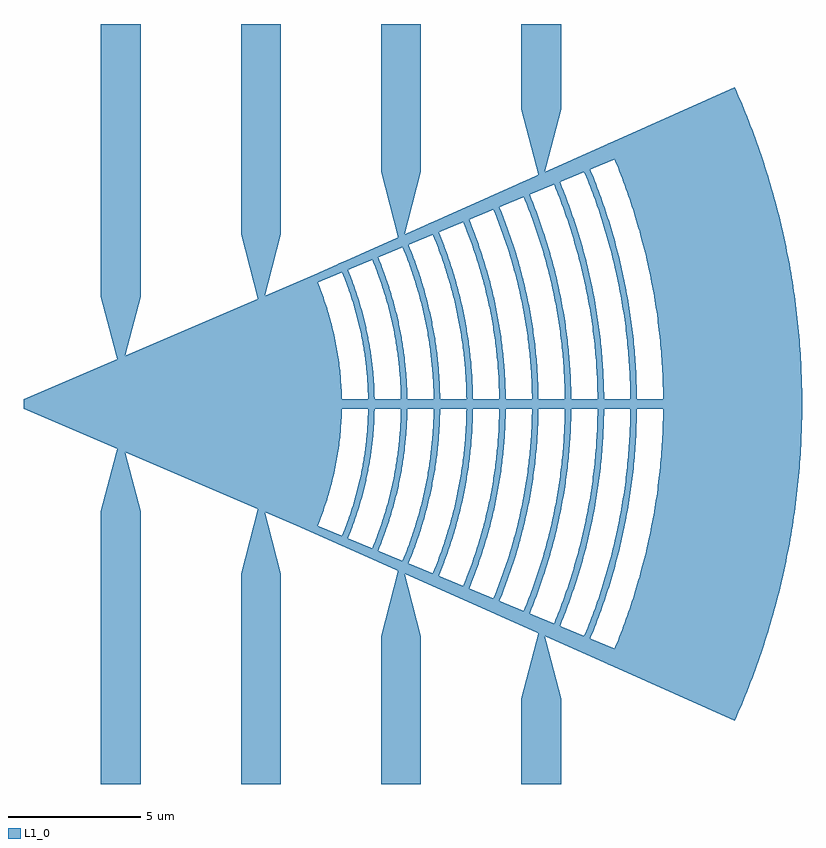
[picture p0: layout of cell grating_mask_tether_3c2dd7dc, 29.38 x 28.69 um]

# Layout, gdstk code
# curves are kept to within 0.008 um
import gdstk
lib = gdstk.Library(unit=1e-6, precision=2e-09)
def R(c, l, rs):  # rectangles x0, y0, x1, y1
    for r in rs: c.add(gdstk.rectangle(r[:2], r[2:], *l))
def P(c, l, *ps):  # polygons
    for p in ps: c.add(gdstk.Polygon(p, *l))
L1_0 = (1, 0)

compass_size13p376__0p3_ = lib.new_cell('compass_size13p376__0p3_04e9e930')
R(compass_size13p376__0p3_, L1_0, [(0,0,13.376,0.35)])

rectangle_size13p376__0p = lib.new_cell('rectangle_size13p376__0p35')
rectangle_size13p376__0p.add(gdstk.Reference(compass_size13p376__0p3_, (0,0)))

ring_7f672872_transform_ = lib.new_cell('ring_7f672872_transform_430da6bd')
P(ring_7f672872_transform_, L1_0, [(11.872,-5.286),(12.106,-4.728),(12.36,-4.016),(12.512,-3.51),(12.68,-2.85),(12.824,-2.108),(12.908,-1.508),(12.964,-0.906),(12.994,-0.226),(12.988,0.454),(12.94,1.208),(12.848,1.958),(12.728,2.628),(12.572,3.29),(12.36,4.016),(12.106,4.728),(11.872,5.286),(12.094,5.384),(12.386,4.672),(12.614,4.018),(12.826,3.278),(12.98,2.602),(13.12,1.766),(13.188,1.154),(13.23,0.462),(13.236,-0.232),(13.206,-0.924),(13.12,-1.766),(12.98,-2.602),(12.826,-3.278),(12.66,-3.87),(12.492,-4.382),(12.302,-4.888),(12.094,-5.384)])

ring_532d3cfd_transform_ = lib.new_cell('ring_532d3cfd_transform_c33dccc3')
P(ring_532d3cfd_transform_, L1_0, [(13.002,-5.79),(13.258,-5.178),(13.484,-4.556),(13.682,-3.924),(13.886,-3.122),(14.032,-2.39),(14.128,-1.734),(14.192,-1.076),(14.23,-0.332),(14.228,0.414),(14.192,1.076),(14.128,1.734),(14.032,2.39),(13.85,3.282),(13.612,4.162),(13.318,5.024),(13.002,5.79),(13.224,5.888),(13.574,5.03),(13.818,4.312),(14.046,3.502),(14.21,2.762),(14.346,1.932),(14.428,1.178),(14.47,0.422),(14.472,-0.336),(14.428,-1.178),(14.346,-1.932),(14.21,-2.762),(14.004,-3.666),(13.868,-4.152),(13.63,-4.872),(13.422,-5.422),(13.224,-5.888)])

ring_ba15de7a_transform_ = lib.new_cell('ring_ba15de7a_transform_50668a50')
P(ring_ba15de7a_transform_, L1_0, [(14.134,-6.292),(14.444,-5.544),(14.742,-4.696),(14.944,-4.004),(15.114,-3.304),(15.252,-2.598),(15.356,-1.886),(15.434,-1.08),(15.47,-0.18),(15.462,0.54),(15.434,1.08),(15.356,1.886),(15.252,2.598),(15.152,3.128),(15.012,3.742),(14.742,4.696),(14.476,5.46),(14.134,6.292),(14.354,6.39),(14.67,5.63),(14.944,4.856),(15.154,4.156),(15.37,3.266),(15.534,2.368),(15.636,1.552),(15.696,0.732),(15.712,-0.182),(15.696,-0.732),(15.668,-1.188),(15.584,-2.006),(15.442,-2.908),(15.224,-3.89),(15.104,-4.332),(14.886,-5.03),(14.67,-5.63),(14.392,-6.308),(14.354,-6.39)])

ring_b315ff9d_transform_ = lib.new_cell('ring_b315ff9d_transform_ac5788b5')
P(ring_b315ff9d_transform_, L1_0, [(15.264,-6.796),(15.634,-5.896),(15.89,-5.164),(16.114,-4.418),(16.344,-3.474),(16.488,-2.71),(16.596,-1.94),(16.668,-1.166),(16.708,-0.194),(16.702,0.486),(16.668,1.166),(16.596,1.94),(16.472,2.806),(16.364,3.378),(16.236,3.948),(15.978,4.886),(15.668,5.806),(15.456,6.35),(15.264,6.796),(15.484,6.894),(15.642,6.532),(15.86,5.982),(16.21,4.956),(16.398,4.292),(16.62,3.332),(16.772,2.456),(16.878,1.576),(16.928,0.888),(16.95,0.198),(16.95,-0.198),(16.91,-1.182),(16.858,-1.772),(16.786,-2.36),(16.62,-3.332),(16.398,-4.292),(16.21,-4.956),(15.962,-5.704),(15.716,-6.35),(15.484,-6.894)])

ring_c534d798_transform_ = lib.new_cell('ring_c534d798_transform_ee35ee72')
P(ring_c534d798_transform_, L1_0, [(16.394,-7.3),(16.792,-6.334),(17.036,-5.644),(17.308,-4.746),(17.51,-3.936),(17.692,-3.014),(17.8,-2.29),(17.848,-1.876),(17.91,-1.148),(17.944,-0.314),(17.942,0.418),(17.91,1.148),(17.812,2.188),(17.692,3.014),(17.576,3.628),(17.438,4.24),(17.308,4.746),(17.162,5.246),(17.002,5.744),(16.792,6.334),(16.394,7.3),(16.616,7.398),(17.018,6.42),(17.33,5.52),(17.596,4.606),(17.834,3.574),(17.996,2.636),(18.11,1.69),(18.158,1.058),(18.184,0.424),(18.186,-0.318),(18.164,-0.952),(18.128,-1.48),(18.026,-2.426),(17.948,-2.95),(17.834,-3.574),(17.596,-4.606),(17.394,-5.318),(17.128,-6.122),(16.864,-6.814),(16.616,-7.398)])

ring_26b249d0_transform_ = lib.new_cell('ring_26b249d0_transform_3fdecdbd')
P(ring_26b249d0_transform_, L1_0, [(17.526,-7.802),(17.87,-6.978),(18.21,-6.034),(18.378,-5.502),(18.53,-4.966),(18.788,-3.88),(18.948,-3),(19.09,-1.894),(19.158,-1.004),(19.184,-0.112),(19.168,0.782),(19.12,1.56),(19.054,2.228),(18.912,3.222),(18.788,3.88),(18.692,4.316),(18.53,4.966),(18.346,5.608),(18.138,6.246),(17.95,6.77),(17.526,7.802),(17.746,7.902),(18.136,6.962),(18.51,5.896),(18.764,5.028),(19.002,4.038),(19.204,2.928),(19.32,2.03),(19.362,1.58),(19.41,0.79),(19.426,-0.114),(19.386,-1.242),(19.294,-2.256),(19.204,-2.928),(19.13,-3.374),(19.002,-4.038),(18.876,-4.59),(18.674,-5.354),(18.44,-6.11),(18.216,-6.75),(17.926,-7.486),(17.746,-7.902)])

ring_3629fad8_transform_ = lib.new_cell('ring_3629fad8_transform_88679995')
P(ring_3629fad8_transform_, L1_0, [(18.656,-8.306),(18.89,-7.76),(19.108,-7.208),(19.422,-6.31),(19.726,-5.286),(19.95,-4.362),(20.132,-3.43),(20.284,-2.37),(20.38,-1.306),(20.42,-0.238),(20.416,0.476),(20.4,0.95),(20.354,1.662),(20.284,2.37),(20.132,3.43),(20,4.13),(19.898,4.594),(19.726,5.286),(19.564,5.856),(19.384,6.424),(19.108,7.208),(18.89,7.76),(18.656,8.306),(18.876,8.404),(19.248,7.518),(19.418,7.068),(19.652,6.386),(19.96,5.348),(20.212,4.296),(20.35,3.588),(20.428,3.114),(20.51,2.518),(20.574,1.92),(20.646,0.842),(20.662,-0.24),(20.646,-0.842),(20.604,-1.562),(20.51,-2.518),(20.35,-3.588),(20.212,-4.296),(20.05,-4.998),(19.83,-5.812),(19.652,-6.386),(19.418,-7.068),(19.068,-7.962),(18.876,-8.404)])

ring_99ec79d3_transform_ = lib.new_cell('ring_99ec79d3_transform_6531ca3d')
P(ring_99ec79d3_transform_, L1_0, [(19.786,-8.81),(20.22,-7.762),(20.56,-6.812),(20.888,-5.728),(21.046,-5.118),(21.186,-4.504),(21.308,-3.886),(21.412,-3.264),(21.54,-2.264),(21.63,-1.134),(21.658,-0.252),(21.646,0.756),(21.576,1.888),(21.466,2.89),(21.308,3.886),(21.186,4.504),(21.016,5.24),(20.888,5.728),(20.676,6.452),(20.31,7.526),(20.082,8.114),(19.786,8.81),(20.008,8.908),(20.21,8.44),(20.492,7.73),(20.868,6.646),(21.188,5.546),(21.34,4.926),(21.474,4.304),(21.67,3.174),(21.768,2.416),(21.818,1.908),(21.888,0.764),(21.9,-0.254),(21.878,-1.018),(21.848,-1.528),(21.794,-2.162),(21.706,-2.922),(21.59,-3.678),(21.474,-4.304),(21.22,-5.422),(21.016,-6.16),(20.79,-6.888),(20.492,-7.73),(20.21,-8.44),(20.008,-8.908)])

ring_8c037680_transform_ = lib.new_cell('ring_8c037680_transform_2f5ef56e')
P(ring_8c037680_transform_, L1_0, [(20.916,-9.312),(21.128,-8.824),(21.376,-8.206),(21.776,-7.076),(22.082,-6.054),(22.34,-5.02),(22.572,-3.844),(22.742,-2.658),(22.81,-1.996),(22.85,-1.464),(22.878,-0.932),(22.896,-0.134),(22.878,0.932),(22.81,1.996),(22.71,2.922),(22.594,3.714),(22.524,4.108),(22.424,4.63),(22.28,5.28),(22.082,6.054),(21.896,6.694),(21.692,7.328),(21.47,7.956),(21.23,8.578),(20.916,9.312),(21.138,9.412),(21.454,8.668),(21.65,8.166),(22.048,7.022),(22.242,6.378),(22.452,5.598),(22.688,4.548),(22.894,3.354),(23.026,2.284),(23.114,1.076),(23.138,-0.134),(23.12,-0.942),(23.092,-1.48),(23.026,-2.284),(22.95,-2.954),(22.764,-4.15),(22.688,-4.548),(22.484,-5.466),(22.242,-6.378),(22.048,-7.022),(21.788,-7.788),(21.454,-8.668),(21.138,-9.412)])

ring_4a8a47b1_transform_ = lib.new_cell('ring_4a8a47b1_transform_f9e3ce15')
P(ring_4a8a47b1_transform_, L1_0, [(22.048,-9.816),(22.324,-9.17),(22.58,-8.518),(22.82,-7.858),(22.996,-7.324),(23.2,-6.652),(23.348,-6.11),(23.484,-5.566),(23.636,-4.88),(23.768,-4.19),(23.88,-3.498),(24.002,-2.522),(24.094,-1.404),(24.12,-0.842),(24.134,-0.14),(24.12,0.842),(24.054,1.964),(23.954,2.942),(23.88,3.498),(23.768,4.19),(23.636,4.88),(23.484,5.566),(23.312,6.246),(23.08,7.056),(22.82,7.858),(22.63,8.386),(22.324,9.17),(22.048,9.816),(22.268,9.914),(22.494,9.394),(22.808,8.604),(23.002,8.07),(23.226,7.398),(23.546,6.308),(23.686,5.76),(23.844,5.068),(24.054,3.954),(24.228,2.688),(24.296,1.984),(24.35,1.134),(24.37,0.568),(24.376,-0.142),(24.362,-0.85),(24.326,-1.558),(24.284,-2.124),(24.212,-2.83),(24.098,-3.674),(24.006,-4.232),(23.844,-5.068),(23.686,-5.76),(23.508,-6.446),(23.27,-7.262),(23.002,-8.07),(22.602,-9.132),(22.268,-9.914)])

ring_2c27f4be_transform_ = lib.new_cell('ring_2c27f4be_transform_725b17a7')
P(ring_2c27f4be_transform_, L1_0, [(22.268,-9.914),(22.494,-9.394),(22.808,-8.604),(23.002,-8.07),(23.226,-7.398),(23.546,-6.308),(23.686,-5.76),(23.844,-5.068),(24.054,-3.954),(24.228,-2.688),(24.326,-1.558),(24.362,-0.85),(24.376,-0.142),(24.37,0.568),(24.35,1.134),(24.296,1.984),(24.228,2.688),(24.054,3.954),(23.844,5.068),(23.686,5.76),(23.546,6.308),(23.226,7.398),(23.002,8.07),(22.808,8.604),(22.602,9.132),(22.268,9.914),(26.836,11.948),(27.108,11.32),(27.364,10.686),(27.72,9.726),(28.042,8.752),(28.376,7.604),(28.662,6.442),(28.9,5.27),(29.066,4.258),(29.216,3.07),(29.316,1.878),(29.364,0.854),(29.374,-0.342),(29.336,-1.538),(29.264,-2.56),(29.158,-3.58),(28.988,-4.764),(28.77,-5.94),(28.624,-6.608),(28.376,-7.604),(28.142,-8.426),(27.938,-9.078),(27.72,-9.726),(27.364,-10.686),(27.108,-11.32),(26.836,-11.948)])

grating_concentric_arc_d = lib.new_cell('grating_concentric_arc_dad6e715')
P(grating_concentric_arc_d, L1_0, [(0,0.174),(0,-0.174),(10.962,-4.882),(11.006,-4.786),(11.24,-4.202),(11.476,-3.508),(11.644,-2.902),(11.78,-2.29),(11.868,-1.774),(11.954,-1.046),(11.99,-0.524),(12,0.104),(11.99,0.524),(11.934,1.254),(11.836,1.98),(11.738,2.496),(11.564,3.206),(11.38,3.808),(11.126,4.496),(10.962,4.882)])
grating_concentric_arc_d.add(gdstk.Reference(ring_7f672872_transform_, (0,0)))
grating_concentric_arc_d.add(gdstk.Reference(ring_532d3cfd_transform_, (0,0)))
grating_concentric_arc_d.add(gdstk.Reference(ring_ba15de7a_transform_, (0,0)))
grating_concentric_arc_d.add(gdstk.Reference(ring_b315ff9d_transform_, (0,0)))
grating_concentric_arc_d.add(gdstk.Reference(ring_c534d798_transform_, (0,0)))
grating_concentric_arc_d.add(gdstk.Reference(ring_26b249d0_transform_, (0,0)))
grating_concentric_arc_d.add(gdstk.Reference(ring_3629fad8_transform_, (0,0)))
grating_concentric_arc_d.add(gdstk.Reference(ring_99ec79d3_transform_, (0,0)))
grating_concentric_arc_d.add(gdstk.Reference(ring_8c037680_transform_, (0,0)))
grating_concentric_arc_d.add(gdstk.Reference(ring_4a8a47b1_transform_, (0,0)))
grating_concentric_arc_d.add(gdstk.Reference(ring_2c27f4be_transform_, (0,0)))

ring_59177681_transform_ = lib.new_cell('ring_59177681_transform_831c825a')
P(ring_59177681_transform_, L1_0, [(22.268,-9.224),(0,0),(22.268,-9.914)],
  [(22.268,-9.914),(22.52,-9.332),(22.268,-9.224)])

c_ring_59177681_transform_ = lib.new_cell('ring_59177681_transform_6f518bc2')
P(c_ring_59177681_transform_, L1_0, [(22.268,9.224),(22.268,9.914),(0,0)],
  [(22.52,9.328),(22.268,9.914),(22.268,9.224)])

c__tether_straight_length_ = lib.new_cell('_tether_straight_length_db810c02')
R(c__tether_straight_length_, L1_0, [(2.904,4.056,4.404,14.344)])
P(c__tether_straight_length_, L1_0, [(3.754,1.556),(4.404,4.056),(2.904,4.056),(3.554,1.556)])

c__tether_straight_length__ = lib.new_cell('_tether_straight_length_3448534c')
R(c__tether_straight_length__, L1_0, [(2.904,-14.344,4.404,-4.056)])
P(c__tether_straight_length__, L1_0, [(3.554,-1.556),(2.904,-4.056),(4.404,-4.056),(3.754,-1.556)])

c__tether_straight_length___ = lib.new_cell('_tether_straight_length_a9b401bf')
R(c__tether_straight_length___, L1_0, [(8.196,6.412,9.696,14.344)])
P(c__tether_straight_length___, L1_0, [(9.046,3.912),(9.696,6.412),(8.196,6.412),(8.846,3.912)])

c__tether_straight_length____ = lib.new_cell('_tether_straight_length_0c83f2e4')
R(c__tether_straight_length____, L1_0, [(8.196,-14.344,9.696,-6.412)])
P(c__tether_straight_length____, L1_0, [(8.846,-3.912),(8.196,-6.412),(9.696,-6.412),(9.046,-3.912)])

c__tether_straight_length_____ = lib.new_cell('_tether_straight_length_638884d0')
R(c__tether_straight_length_____, L1_0, [(13.486,8.768,14.986,14.344)])
P(c__tether_straight_length_____, L1_0, [(14.336,6.268),(14.986,8.768),(13.486,8.768),(14.136,6.268)])

c__tether_straight_length______ = lib.new_cell('_tether_straight_length_d950d40d')
R(c__tether_straight_length______, L1_0, [(13.486,-14.344,14.986,-8.768)])
P(c__tether_straight_length______, L1_0, [(14.136,-6.268),(13.486,-8.768),(14.986,-8.768),(14.336,-6.268)])

c__tether_straight_length_______ = lib.new_cell('_tether_straight_length_4518a215')
R(c__tether_straight_length_______, L1_0, [(18.778,11.124,20.278,14.344)])
P(c__tether_straight_length_______, L1_0, [(19.628,8.624),(20.278,11.124),(18.778,11.124),(19.428,8.624)])

c__tether_straight_length________ = lib.new_cell('_tether_straight_length_f00deb15')
R(c__tether_straight_length________, L1_0, [(18.778,-14.344,20.278,-11.124)])
P(c__tether_straight_length________, L1_0, [(19.428,-8.624),(18.778,-11.124),(20.278,-11.124),(19.628,-8.624)])

section_2skeleton_tethe_ = lib.new_cell('section_2skeleton_tethe_e4e9244d')
section_2skeleton_tethe_.add(gdstk.Reference(ring_59177681_transform_, (0,0)))
section_2skeleton_tethe_.add(gdstk.Reference(c_ring_59177681_transform_, (0,0)))
section_2skeleton_tethe_.add(gdstk.Reference(c__tether_straight_length_, (0,0)))
section_2skeleton_tethe_.add(gdstk.Reference(c__tether_straight_length__, (0,0)))
section_2skeleton_tethe_.add(gdstk.Reference(c__tether_straight_length___, (0,0)))
section_2skeleton_tethe_.add(gdstk.Reference(c__tether_straight_length____, (0,0)))
section_2skeleton_tethe_.add(gdstk.Reference(c__tether_straight_length_____, (0,0)))
section_2skeleton_tethe_.add(gdstk.Reference(c__tether_straight_length______, (0,0)))
section_2skeleton_tethe_.add(gdstk.Reference(c__tether_straight_length_______, (0,0)))
section_2skeleton_tethe_.add(gdstk.Reference(c__tether_straight_length________, (0,0)))

grating_mask_tether_3c2d = lib.new_cell('grating_mask_tether_3c2dd7dc')
grating_mask_tether_3c2d.add(gdstk.Reference(rectangle_size13p376__0p, (11,-0.174)))
grating_mask_tether_3c2d.add(gdstk.Reference(grating_concentric_arc_d, (0,0)))
grating_mask_tether_3c2d.add(gdstk.Reference(section_2skeleton_tethe_, (0,0)))

lib.write_gds('grating_mask_tether_3c2dd7dc.gds')
